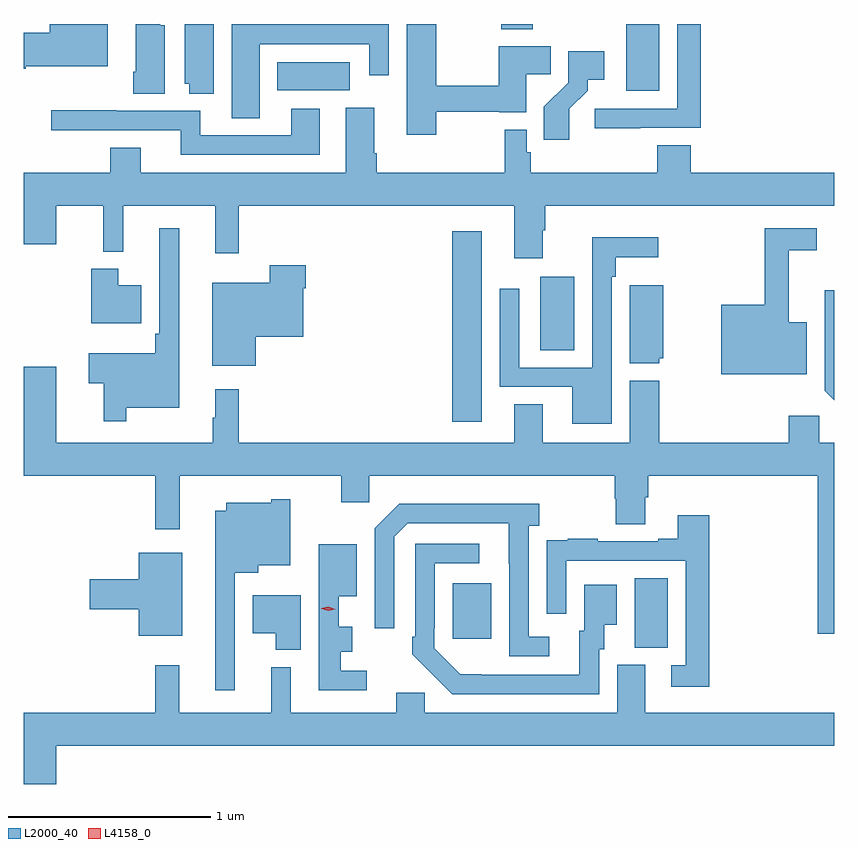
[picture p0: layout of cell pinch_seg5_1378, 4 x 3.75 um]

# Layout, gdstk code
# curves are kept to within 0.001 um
import gdstk
lib = gdstk.Library(unit=1e-6, precision=1e-09)
def R(c, l, rs):  # rectangles x0, y0, x1, y1
    for r in rs: c.add(gdstk.rectangle(r[:2], r[2:], *l))
def P(c, l, *ps):  # polygons
    for p in ps: c.add(gdstk.Polygon(p, *l))
L2000_40 = (2000, 40)
L4158_0 = (4158, 0)

pinch_seg5_1378 = lib.new_cell('pinch_seg5_1378')
R(pinch_seg5_1378, L2000_40, [(168.026,910.525,168.19,910.868), (167.129,910.569,167.317,910.843), (167.126,911.64,167.272,912.58), (167.561,911.992,167.728,912.355), (167.984,913.272,168.148,913.602), (166.262,913.274,166.621,913.414), (167.368,913.577,167.523,913.602)])
P(pinch_seg5_1378, L2000_40, [(165.949,913.602),(165.806,913.602),(165.806,913.308),(165.827,913.308),(165.827,913.258),(165.949,913.258)],
  [(165.706,913.596),(165.685,913.596),(165.685,913.602),(165.563,913.602),(165.563,913.366),(165.551,913.366),(165.551,913.258),(165.706,913.258)],
  [(168.053,913.089),(168.353,913.089),(168.353,913.602),(168.237,913.602),(168.237,913.185),(167.829,913.185),(167.829,913.087),(168.053,913.087)],
  [(167.046,913.17),(167.358,913.17),(167.358,913.166),(167.491,913.166),(167.491,913.354),(167.612,913.354),(167.612,913.492),(167.354,913.492),(167.354,913.298),(167.046,913.298),(167.046,913.602),(166.901,913.602),(166.901,913.056),(167.046,913.056)],
  [(165.022,913.394),(165.427,913.394),(165.427,913.602),(165.14,913.602),(165.14,913.56),(165.011,913.56),(165.011,913.382),(165.022,913.382)],
  [(166.177,913.502),(166.716,913.502),(166.716,913.35),(166.812,913.35),(166.812,913.602),(166.037,913.602),(166.037,913.138),(166.177,913.138)],
  [(167.704,913.183),(167.794,913.273),(167.794,913.328),(167.875,913.328),(167.875,913.468),(167.697,913.468),(167.697,913.313),(167.578,913.194),(167.578,913.032),(167.704,913.032)],
  [(167.572,912.584),(167.585,912.584),(167.585,912.704),(169.011,912.704),(169.011,912.868),(168.302,912.868),(168.302,913.004),(168.137,913.004),(168.137,912.868),(167.513,912.868),(167.513,912.969),(167.493,912.969),(167.493,913.081),(167.385,913.081),(167.385,912.868),(166.754,912.868),(166.754,912.964),(166.741,912.964),(166.741,913.189),(166.601,913.189),(166.601,912.868),(165.589,912.868),(165.589,912.992),(165.437,912.992),(165.437,912.868),(165.011,912.868),(165.011,912.516),(165.172,912.516),(165.172,912.704),(165.403,912.704),(165.403,912.479),(165.503,912.479),(165.503,912.704),(165.956,912.704),(165.956,912.471),(166.073,912.471),(166.073,912.704),(167.432,912.704),(167.432,912.447),(167.572,912.447)],
  [(166.471,913.183),(166.331,913.183),(166.331,913.053),(165.883,913.053),(165.883,913.173),(165.467,913.173),(165.467,913.176),(165.147,913.176),(165.147,913.077),(165.785,913.077),(165.785,912.957),(166.471,912.957)],
  [(165.517,911.708),(165.778,911.708),(165.778,912.595),(165.681,912.595),(165.681,912.073),(165.661,912.073),(165.661,911.977),(165.332,911.977),(165.332,911.83),(165.406,911.83),(165.406,911.643),(165.517,911.643)],
  [(168.874,912.13),(168.785,912.13),(168.785,912.486),(168.925,912.486),(168.925,912.594),(168.667,912.594),(168.667,912.217),(168.452,912.217),(168.452,911.873),(168.874,911.873)],
  [(167.913,912.356),(167.933,912.356),(167.933,912.452),(168.142,912.452),(168.142,912.55),(167.817,912.55),(167.817,911.907),(167.457,911.907),(167.457,912.295),(167.361,912.295),(167.361,911.811),(167.717,911.811),(167.717,911.63),(167.913,911.63)],
  [(166.156,912.059),(166.39,912.059),(166.39,912.299),(166.403,912.299),(166.403,912.412),(166.225,912.412),(166.225,912.325),(165.941,912.325),(165.941,911.915),(166.156,911.915)],
  [(165.592,912.313),(165.478,912.313),(165.478,912.394),(165.344,912.394),(165.344,912.125),(165.592,912.125)],
  [(168.147,911.952),(168.166,911.952),(168.166,912.313),(168.002,912.313),(168.002,911.927),(168.147,911.927)],
  [(169.011,912.289),(168.963,912.289),(168.963,911.793),(169.011,911.745)],
  [(169.011,911.536),(168.936,911.536),(168.936,911.668),(168.785,911.668),(168.785,911.536),(168.146,911.536),(168.146,911.842),(168.002,911.842),(168.002,911.536),(167.572,911.536),(167.572,911.726),(167.432,911.726),(167.432,911.536),(166.073,911.536),(166.073,911.8),(165.956,911.8),(165.956,911.66),(165.945,911.66),(165.945,911.536),(165.172,911.536),(165.172,911.911),(165.011,911.911),(165.011,911.372),(165.661,911.372),(165.661,911.109),(165.78,911.109),(165.78,911.372),(166.577,911.372),(166.577,911.241),(166.716,911.241),(166.716,911.372),(167.927,911.372),(167.927,911.259),(167.932,911.259),(167.932,911.134),(168.079,911.134),(168.079,911.266),(168.092,911.266),(168.092,911.372),(168.929,911.372),(168.929,910.593),(169.011,910.593)],
  [(166.053,910.895),(166.168,910.895),(166.168,910.931),(166.327,910.931),(166.327,911.257),(166.233,911.257),(166.233,911.239),(166.01,911.239),(166.01,911.2),(165.956,911.2),(165.956,910.314),(166.053,910.314)],
  [(167.605,910.578),(167.502,910.578),(167.502,911.126),(167.554,911.126),(167.554,911.236),(166.864,911.236),(166.743,911.115),(166.743,910.62),(166.839,910.62),(166.839,911.073),(166.905,911.139),(167.405,911.139),(167.406,910.482),(167.605,910.482)],
  [(168.395,911.179),(168.239,911.179),(168.239,911.062),(168.143,911.062),(168.143,911.049),(167.843,911.049),(167.843,911.062),(167.695,911.062),(167.695,911.055),(167.593,911.055),(167.593,910.946),(167.592,910.946),(167.592,910.692),(167.688,910.692),(167.688,910.953),(168.279,910.953),(168.279,910.437),(168.207,910.437),(168.207,910.332),(168.395,910.332)],
  [(167.85,910.518),(167.875,910.518),(167.875,910.637),(167.938,910.637),(167.938,910.834),(167.777,910.834),(167.777,910.608),(167.753,910.608),(167.753,910.392),(167.166,910.393),(167.037,910.521),(167.037,910.621),(167.04,910.621),(167.04,910.941),(167.26,910.941),(167.26,911.037),(166.944,911.037),(166.944,910.579),(166.929,910.579),(166.929,910.491),(167.126,910.296),(167.85,910.296)],
  [(166.705,910.41),(166.576,910.41),(166.576,910.505),(166.633,910.505),(166.633,910.627),(166.565,910.627),(166.565,910.778),(166.654,910.778),(166.654,911.035),(166.467,911.035),(166.467,910.314),(166.705,910.314)],
  [(165.793,910.993),(165.578,910.993),(165.578,910.862),(165.336,910.862),(165.336,910.715),(165.578,910.715),(165.578,910.583),(165.793,910.583)],
  [(166.378,910.783),(166.142,910.783),(166.142,910.595),(166.256,910.595),(166.256,910.514),(166.378,910.514)],
  [(165.172,910.04),(169.011,910.04),(169.011,910.204),(168.079,910.204),(168.079,910.44),(167.939,910.44),(167.939,910.204),(166.989,910.204),(166.989,910.302),(166.85,910.302),(166.85,910.204),(166.33,910.204),(166.33,910.429),(166.232,910.429),(166.232,910.204),(165.779,910.204),(165.779,910.438),(165.661,910.438),(165.661,910.204),(165.011,910.204),(165.011,909.852),(165.172,909.852)])
P(pinch_seg5_1378, L4158_0, [(166.514,910.706),(166.48,910.717),(166.48,910.717),(166.48,910.718),(166.515,910.726),(166.549,910.715),(166.549,910.714),(166.549,910.714)])

lib.write_gds('pinch_seg5_1378.gds')
